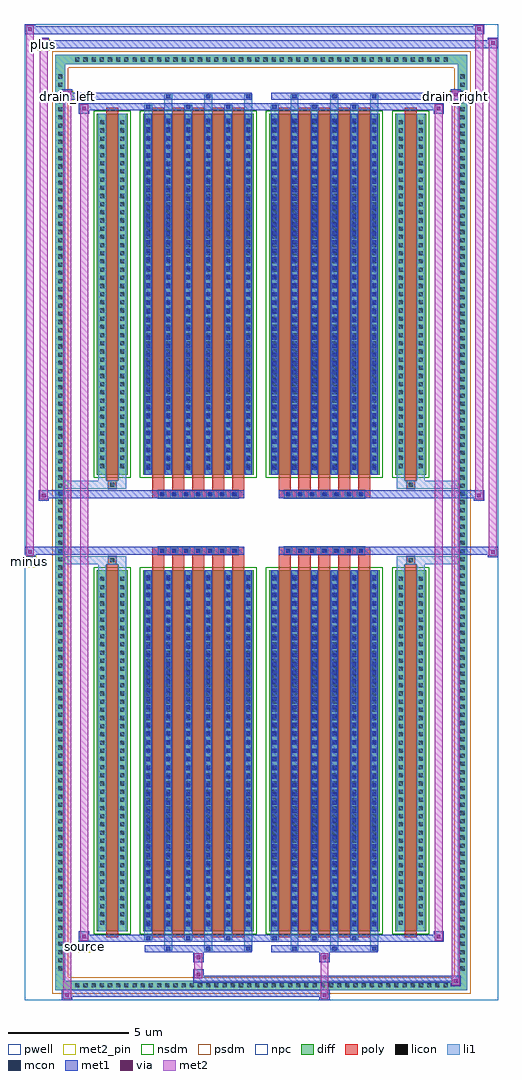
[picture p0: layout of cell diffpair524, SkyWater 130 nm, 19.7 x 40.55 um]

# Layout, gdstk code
import gdstk
lib = gdstk.Library(unit=1e-6, precision=5e-09)
def R(c, l, rs):  # rectangles x0, y0, x1, y1
    for r in rs: c.add(gdstk.rectangle(r[:2], r[2:], *l))
def A(c, l, x, y, w, h, nx, ny, dx, dy):  # array of equal rectangles
    R(c, l, [(x+i*dx, y+j*dy, x+i*dx+w, y+j*dy+h) for i in range(nx) for j in range(ny)])
def P(c, l, *ps):  # polygons
    for p in ps: c.add(gdstk.Polygon(p, *l))
pwell = (64, 44)
diff = (65, 20)
poly = (66, 20)
licon = (66, 44)
li1 = (67, 20)
mcon = (67, 44)
met1 = (68, 20)
via = (68, 44)
met2_pin = (69, 16)
met2 = (69, 20)
nsdm = (93, 44)
psdm = (94, 20)
npc = (95, 20)

diffpair524 = lib.new_cell('diffpair524')
R(diffpair524, pwell, [(-9.83,-19.84,9.83,20.71), (-7.15,-18.03,-0.01,-0.805), (0.01,-18.03,7.15,-0.805), (-7.15,0.805,-0.01,18.03), (0.01,0.805,7.15,18.03)])
A(diffpair524, diff, -7.855, -19.44, 0.41, 0.41, 46, 2, 0.34, 38.47)
A(diffpair524, diff, -8.56, -18.735, 0.41, 0.41, 1, 110, 0, 0.34)
A(diffpair524, diff, 8.15, -18.735, 0.41, 0.41, 1, 110, 0, 0.34)
R(diffpair524, diff, [(-7.855,-19.44,7.855,-19.03), (-8.56,-18.735,-8.15,18.735), (8.15,-18.735,8.56,18.735), (-6.84,-16.985,-5.56,-1.985), (-4.92,-16.985,-0.32,-1.985), (0.32,-16.985,4.92,-1.985), (5.56,-16.985,6.84,-1.985), (-6.84,1.985,-5.56,16.985), (-4.92,1.985,-0.32,16.985), (0.32,1.985,4.92,16.985), (5.56,1.985,6.84,16.985), (-7.855,19.03,7.855,19.44)])
P(diffpair524, diff, [(8.56,19.44),(-8.56,19.44),(-8.56,-19.03),(-8.15,-19.03),(-8.15,19.03),(8.15,19.03),(8.15,-19.03),(-8.15,-19.03),(-8.56,-19.03),(-8.56,-19.44),(8.56,-19.44)])
A(diffpair524, poly, -4.53, -17.235, 0.5, 15.5, 5, 2, 0.83, 18.97)
A(diffpair524, poly, 0.71, -17.235, 0.5, 15.5, 5, 2, 0.83, 18.97)
A(diffpair524, poly, -4.53, -1.735, 0.5, 0.4, 5, 2, 0.83, 3.07)
A(diffpair524, poly, 0.71, -1.735, 0.5, 0.4, 5, 2, 0.83, 3.07)
A(diffpair524, poly, -4.285, -1.335, 0.33, 0.33, 7, 2, 0.5, 2.34)
A(diffpair524, poly, 0.955, -1.335, 0.33, 0.33, 7, 2, 0.5, 2.34)
R(diffpair524, poly, [(-6.45,-17.235,-5.95,-1.735), (5.95,-17.235,6.45,-1.735), (-6.365,-1.735,-6.035,-1.405), (-6.365,-1.735,-6.035,-1.405), (6.035,-1.735,6.365,-1.405), (6.035,-1.735,6.365,-1.405), (-4.53,-1.335,-0.71,-1.005), (0.71,-1.335,4.53,-1.005), (-4.53,1.005,-0.71,1.335), (0.71,1.005,4.53,1.335), (-6.365,1.405,-6.035,1.735), (-6.365,1.405,-6.035,1.735), (6.035,1.405,6.365,1.735), (6.035,1.405,6.365,1.735), (-6.45,1.735,-5.95,17.235), (5.95,1.735,6.45,17.235)])
A(diffpair524, licon, -7.735, -19.32, 0.17, 0.17, 46, 2, 0.34, 38.47)
A(diffpair524, licon, -8.44, -18.615, 0.17, 0.17, 1, 110, 0, 0.34)
A(diffpair524, licon, 8.27, -18.615, 0.17, 0.17, 1, 110, 0, 0.34)
A(diffpair524, licon, -6.7, -16.71, 0.17, 0.17, 1, 43, 0, 0.34)
A(diffpair524, licon, -5.87, -16.71, 0.17, 0.17, 1, 43, 0, 0.34)
A(diffpair524, licon, -4.78, -16.71, 0.17, 0.17, 6, 43, 0.83, 0.34)
A(diffpair524, licon, 0.46, -16.71, 0.17, 0.17, 6, 43, 0.83, 0.34)
A(diffpair524, licon, 5.7, -16.71, 0.17, 0.17, 1, 43, 0, 0.34)
A(diffpair524, licon, 6.53, -16.71, 0.17, 0.17, 1, 43, 0, 0.34)
A(diffpair524, licon, -4.205, -1.255, 0.17, 0.17, 7, 2, 0.5, 2.34)
A(diffpair524, licon, 1.035, -1.255, 0.17, 0.17, 7, 2, 0.5, 2.34)
A(diffpair524, licon, -6.7, 2.26, 0.17, 0.17, 1, 43, 0, 0.34)
A(diffpair524, licon, -5.87, 2.26, 0.17, 0.17, 1, 43, 0, 0.34)
A(diffpair524, licon, -4.78, 2.26, 0.17, 0.17, 6, 43, 0.83, 0.34)
A(diffpair524, licon, 0.46, 2.26, 0.17, 0.17, 6, 43, 0.83, 0.34)
A(diffpair524, licon, 5.7, 2.26, 0.17, 0.17, 1, 43, 0, 0.34)
A(diffpair524, licon, 6.53, 2.26, 0.17, 0.17, 1, 43, 0, 0.34)
R(diffpair524, licon, [(-6.285,-1.655,-6.115,-1.485), (6.115,-1.655,6.285,-1.485), (-6.285,1.485,-6.115,1.655), (6.115,1.485,6.285,1.655)])
A(diffpair524, li1, -7.815, -19.4, 0.33, 0.33, 46, 2, 0.34, 38.47)
A(diffpair524, li1, -8.52, -18.695, 0.33, 0.33, 1, 110, 0, 0.34)
A(diffpair524, li1, 8.19, -18.695, 0.33, 0.33, 1, 110, 0, 0.34)
A(diffpair524, li1, -4.03, -17.79, 0.33, 0.805, 3, 2, 1.66, 34.775)
A(diffpair524, li1, -3.95, -17.79, 0.17, 0.17, 3, 2, 1.66, 35.41)
A(diffpair524, li1, 1.21, -17.79, 0.33, 0.805, 3, 2, 1.66, 34.775)
A(diffpair524, li1, 1.29, -17.79, 0.17, 0.17, 3, 2, 1.66, 35.41)
A(diffpair524, li1, -4.86, -17.36, 0.33, 0.375, 3, 2, 1.66, 34.345)
A(diffpair524, li1, -4.78, -17.36, 0.17, 0.17, 3, 2, 1.66, 34.55)
A(diffpair524, li1, 0.38, -17.36, 0.33, 0.375, 3, 2, 1.66, 34.345)
A(diffpair524, li1, 0.46, -17.36, 0.17, 0.17, 3, 2, 1.66, 34.55)
A(diffpair524, li1, -4.86, -16.985, 0.33, 15, 6, 2, 0.83, 18.97)
A(diffpair524, li1, 0.38, -16.985, 0.33, 15, 6, 2, 0.83, 18.97)
A(diffpair524, li1, -6.78, -16.79, 0.33, 0.33, 1, 43, 0, 0.34)
A(diffpair524, li1, -5.95, -16.79, 0.33, 0.33, 1, 43, 0, 0.34)
A(diffpair524, li1, -4.86, -16.79, 0.33, 0.33, 6, 43, 0.83, 0.34)
A(diffpair524, li1, 0.38, -16.79, 0.33, 0.33, 6, 43, 0.83, 0.34)
A(diffpair524, li1, 5.62, -16.79, 0.33, 0.33, 1, 43, 0, 0.34)
A(diffpair524, li1, 6.45, -16.79, 0.33, 0.33, 1, 43, 0, 0.34)
A(diffpair524, li1, -4.78, -16.77, 0.17, 0.17, 6, 41, 0.83, 0.36)
A(diffpair524, li1, -4.78, -16.77, 0.17, 14.57, 6, 2, 0.83, 18.97)
A(diffpair524, li1, 0.46, -16.77, 0.17, 0.17, 6, 41, 0.83, 0.36)
A(diffpair524, li1, 0.46, -16.77, 0.17, 14.57, 6, 2, 0.83, 18.97)
A(diffpair524, li1, -4.285, -1.335, 0.33, 0.33, 7, 2, 0.5, 2.34)
A(diffpair524, li1, 0.955, -1.335, 0.33, 0.33, 7, 2, 0.5, 2.34)
A(diffpair524, li1, -6.78, 2.18, 0.33, 0.33, 1, 43, 0, 0.34)
A(diffpair524, li1, -5.95, 2.18, 0.33, 0.33, 1, 43, 0, 0.34)
A(diffpair524, li1, -4.86, 2.18, 0.33, 0.33, 6, 43, 0.83, 0.34)
A(diffpair524, li1, 0.38, 2.18, 0.33, 0.33, 6, 43, 0.83, 0.34)
A(diffpair524, li1, 5.62, 2.18, 0.33, 0.33, 1, 43, 0, 0.34)
A(diffpair524, li1, 6.45, 2.18, 0.33, 0.33, 1, 43, 0, 0.34)
A(diffpair524, li1, -4.78, 2.2, 0.17, 0.17, 6, 41, 0.83, 0.36)
A(diffpair524, li1, 0.46, 2.2, 0.17, 0.17, 6, 41, 0.83, 0.36)
R(diffpair524, li1, [(-8.56,-19.44,-8.15,-19.03), (-8.56,-19.44,-8.15,-19.03), (-8.15,-19.44,8.15,-19.03), (8.15,-19.44,8.56,-19.03), (8.15,-19.44,8.56,-19.03), (-8.56,-19.03,-8.15,19.03), (8.15,-19.03,8.56,19.03), (-6.78,-16.985,-6.45,-1.985), (-5.95,-16.985,-5.62,-1.985), (5.62,-16.985,5.95,-1.985), (6.45,-16.985,6.78,-1.985), (-6.78,-1.985,-6.45,-1.405), (-5.95,-1.985,-5.62,-1.405), (5.62,-1.985,5.95,-1.405), (6.45,-1.985,6.78,-1.405), (-8.56,-1.735,-6.365,-1.405), (-6.78,-1.735,-6.365,-1.405), (-6.365,-1.735,-6.035,-1.405), (-6.035,-1.735,-5.62,-1.405), (5.62,-1.735,6.035,-1.405), (6.035,-1.735,6.365,-1.405), (6.035,-1.735,8.56,-1.405), (6.365,-1.735,6.78,-1.405), (-8.56,1.405,-6.365,1.735), (-6.78,1.405,-6.365,1.735), (-6.78,1.405,-6.45,1.985), (-6.365,1.405,-6.035,1.735), (-6.035,1.405,-5.62,1.735), (-5.95,1.405,-5.62,1.985), (5.62,1.405,6.035,1.735), (5.62,1.405,5.95,1.985), (6.035,1.405,6.365,1.735), (6.035,1.405,8.56,1.735), (6.365,1.405,6.78,1.735), (6.45,1.405,6.78,1.985), (-6.78,1.985,-6.45,16.985), (-5.95,1.985,-5.62,16.985), (5.62,1.985,5.95,16.985), (6.45,1.985,6.78,16.985), (-8.56,19.03,-8.15,19.44), (-8.56,19.03,-8.15,19.44), (-8.15,19.03,8.15,19.44), (8.15,19.03,8.56,19.44), (8.15,19.03,8.56,19.44)])
A(diffpair524, mcon, -3.95, -17.79, 0.17, 0.17, 3, 2, 1.66, 35.41)
A(diffpair524, mcon, 1.29, -17.79, 0.17, 0.17, 3, 2, 1.66, 35.41)
A(diffpair524, mcon, -4.78, -17.36, 0.17, 0.17, 3, 2, 1.66, 34.55)
A(diffpair524, mcon, 0.46, -17.36, 0.17, 0.17, 3, 2, 1.66, 34.55)
A(diffpair524, mcon, -4.78, -16.77, 0.17, 0.17, 6, 41, 0.83, 0.36)
A(diffpair524, mcon, 0.46, -16.77, 0.17, 0.17, 6, 41, 0.83, 0.36)
A(diffpair524, mcon, -4.205, -1.255, 0.17, 0.17, 7, 2, 0.5, 2.34)
A(diffpair524, mcon, 1.035, -1.255, 0.17, 0.17, 7, 2, 0.5, 2.34)
A(diffpair524, mcon, -4.78, 2.2, 0.17, 0.17, 6, 41, 0.83, 0.36)
A(diffpair524, mcon, 0.46, 2.2, 0.17, 0.17, 6, 41, 0.83, 0.36)
A(diffpair524, met1, -4.01, -17.85, 0.29, 0.29, 3, 2, 1.66, 35.41)
A(diffpair524, met1, 1.23, -17.85, 0.29, 0.29, 3, 2, 1.66, 35.41)
A(diffpair524, met1, -4.84, -17.42, 0.29, 0.29, 3, 2, 1.66, 34.55)
A(diffpair524, met1, 0.4, -17.42, 0.29, 0.29, 3, 2, 1.66, 34.55)
A(diffpair524, met1, -4.84, -16.985, 0.29, 15, 6, 2, 0.83, 18.97)
A(diffpair524, met1, 0.4, -16.985, 0.29, 15, 6, 2, 0.83, 18.97)
A(diffpair524, met1, -4.84, -16.83, 0.29, 0.29, 6, 41, 0.83, 0.36)
A(diffpair524, met1, 0.4, -16.83, 0.29, 0.29, 6, 41, 0.83, 0.36)
A(diffpair524, met1, -4.265, -1.315, 0.29, 0.29, 7, 2, 0.5, 2.34)
A(diffpair524, met1, 0.975, -1.315, 0.29, 0.29, 7, 2, 0.5, 2.34)
A(diffpair524, met1, -4.84, 2.14, 0.29, 0.29, 6, 41, 0.83, 0.36)
A(diffpair524, met1, 0.4, 2.14, 0.29, 0.29, 6, 41, 0.83, 0.36)
R(diffpair524, met1, [(-8.29,-19.84,-7.86,-19.41), (2.405,-19.84,2.835,-19.41), (-8.29,-19.7,2.835,-19.41), (7.86,-19.27,8.29,-18.84), (-2.835,-19.13,8.29,-18.84), (-2.835,-18.99,-2.405,-18.56), (-2.835,-18.28,-2.405,-17.85), (2.405,-18.28,2.835,-17.85), (-4.84,-17.85,-0.4,-17.56), (0.4,-17.85,4.84,-17.56), (-7.58,-17.42,-7.15,-16.99), (-7.58,-17.42,-4.84,-17.13), (-4.84,-17.42,-0.4,-17.13), (-0.4,-17.42,0.4,-17.13), (0.4,-17.42,4.84,-17.13), (4.84,-17.42,7.58,-17.13), (7.15,-17.42,7.58,-16.99), (-9.83,-1.435,-9.4,-1.005), (9.4,-1.435,9.83,-1.005), (-9.83,-1.335,-0.71,-1.005), (-4.53,-1.335,-0.71,-1.005), (0.71,-1.335,4.53,-1.005), (0.71,-1.335,9.83,-1.005), (-9.26,0.905,-8.83,1.335), (8.83,0.905,9.26,1.335), (-9.26,1.005,-4.53,1.335), (-4.53,1.005,-0.71,1.335), (0.71,1.005,4.53,1.335), (4.53,1.005,9.26,1.335), (-7.58,16.99,-7.15,17.42), (7.15,16.99,7.58,17.42), (-7.58,17.13,-4.84,17.42), (-4.84,17.13,-0.4,17.42), (-0.4,17.13,0.4,17.42), (0.4,17.13,4.84,17.42), (4.84,17.13,7.58,17.42), (-8.29,17.56,-7.86,17.99), (-8.29,17.56,-4.84,17.85), (-4.84,17.56,-0.4,17.85), (0.4,17.56,4.84,17.85), (4.84,17.56,8.29,17.85), (7.86,17.56,8.29,17.99), (-9.26,19.71,-8.83,20.14), (-9.26,19.71,-7.15,20.04), (-7.15,19.71,7.15,20.04), (7.15,19.71,9.83,20.04), (9.4,19.71,9.83,20.14), (-9.83,20.28,-9.4,20.71), (-9.83,20.28,-7.15,20.61), (-7.15,20.28,7.15,20.61), (7.15,20.28,9.26,20.61), (8.83,20.28,9.26,20.71)])
R(diffpair524, via, [(-8.15,-19.7,-8,-19.55), (2.545,-19.7,2.695,-19.55), (8,-19.13,8.15,-18.98), (-2.695,-18.85,-2.545,-18.7), (-2.695,-18.14,-2.545,-17.99), (2.545,-18.14,2.695,-17.99), (-7.44,-17.28,-7.29,-17.13), (7.29,-17.28,7.44,-17.13), (-9.69,-1.295,-9.54,-1.145), (9.54,-1.295,9.69,-1.145), (-9.12,1.045,-8.97,1.195), (8.97,1.045,9.12,1.195), (-7.44,17.13,-7.29,17.28), (7.29,17.13,7.44,17.28), (-8.15,17.7,-8,17.85), (8,17.7,8.15,17.85), (-9.12,19.85,-8.97,20), (9.54,19.85,9.69,20), (-9.69,20.42,-9.54,20.57), (8.97,20.42,9.12,20.57)])
R(diffpair524, met2_pin, [(-7.615,-17.87,-7.115,-17.37), (-9.865,-1.885,-9.365,-1.385), (-8.325,17.44,-7.825,17.94), (7.825,17.44,8.325,17.94), (-9.295,19.59,-8.795,20.09)])
R(diffpair524, met2, [(-8.24,-19.79,-7.91,-19.46), (-8.24,-19.79,-7.91,17.94), (2.455,-19.79,2.785,-19.46), (2.455,-19.46,2.785,-18.23), (7.91,-19.22,8.24,-18.89), (7.91,-19.22,8.24,17.94), (-2.785,-18.94,-2.455,-18.61), (-2.785,-18.61,-2.455,-18.23), (-2.785,-18.23,-2.455,-17.9), (2.455,-18.23,2.785,-17.9), (-7.53,-17.37,-7.2,-17.04), (-7.53,-17.37,-7.2,17.37), (7.2,-17.37,7.53,-17.04), (7.2,-17.37,7.53,17.37), (-9.78,-1.385,-9.45,-1.055), (-9.78,-1.385,-9.45,20.66), (9.45,-1.385,9.78,-1.055), (9.45,-1.385,9.78,20.09), (-9.21,0.955,-8.88,1.285), (-9.21,0.955,-8.88,20.09), (8.88,0.955,9.21,1.285), (8.88,0.955,9.21,20.66), (-7.53,17.04,-7.2,17.37), (7.2,17.04,7.53,17.37), (-8.24,17.61,-7.91,17.94), (7.91,17.61,8.24,17.94), (-9.21,19.76,-8.88,20.09), (9.45,19.76,9.78,20.09), (-9.78,20.33,-9.45,20.66), (8.88,20.33,9.21,20.66)])
P(diffpair524, met2, [(9.78,-1.385),(9.78,-1.385),(9.78,-1.055),(9.78,-1.055)],
  [(9.78,19.76),(9.78,19.76),(9.78,20.09),(9.78,20.09)],
  [(-9.45,-1.385),(-9.45,-1.385),(-9.45,-1.055),(-9.45,-1.055)],
  [(-9.45,20.33),(-9.45,20.33),(-9.45,20.66),(-9.45,20.66)],
  [(9.21,0.955),(9.21,0.955),(9.21,1.285),(9.21,1.285)],
  [(9.21,20.33),(9.21,20.33),(9.21,20.66),(9.21,20.66)],
  [(-8.88,0.955),(-8.88,0.955),(-8.88,1.285),(-8.88,1.285)],
  [(-8.88,19.76),(-8.88,19.76),(-8.88,20.09),(-8.88,20.09)],
  [(-7.91,-19.79),(-7.91,-19.79),(-7.91,-19.46),(-7.91,-19.46)],
  [(-7.91,17.61),(-7.91,17.61),(-7.91,17.94),(-7.91,17.94)],
  [(8.24,-19.22),(8.24,-19.22),(8.24,-18.89),(8.24,-18.89)],
  [(8.24,17.61),(8.24,17.61),(8.24,17.94),(8.24,17.94)],
  [(-7.2,-17.37),(-7.2,-17.37),(-7.2,-17.04),(-7.2,-17.04)],
  [(-7.2,17.04),(-7.2,17.04),(-7.2,17.37),(-7.2,17.37)],
  [(7.53,-17.37),(7.53,-17.37),(7.53,-17.04),(7.53,-17.04)],
  [(7.53,17.04),(7.53,17.04),(7.53,17.37),(7.53,17.37)])
R(diffpair524, nsdm, [(-6.97,-17.115,-5.43,-1.855), (-5.05,-17.115,-0.19,-1.855), (0.19,-17.115,5.05,-1.855), (5.43,-17.115,6.97,-1.855), (-6.97,1.855,-5.43,17.115), (-5.05,1.855,-0.19,17.115), (0.19,1.855,5.05,17.115), (5.43,1.855,6.97,17.115)])
P(diffpair524, psdm, [(8.69,19.57),(-8.69,19.57),(-8.69,-18.9),(-8.02,-18.9),(-8.02,18.9),(8.02,18.9),(8.02,-18.9),(-8.02,-18.9),(-8.69,-18.9),(-8.69,-19.57),(8.69,-19.57)])
A(diffpair524, npc, -4.305, -1.355, 0.37, 0.37, 7, 2, 0.5, 2.34)
A(diffpair524, npc, 0.935, -1.355, 0.37, 0.37, 7, 2, 0.5, 2.34)
R(diffpair524, npc, [(-6.385,-1.755,-6.015,-1.385), (6.015,-1.755,6.385,-1.385), (-4.305,-1.355,-3.435,-0.985), (-4.305,-1.355,-3.435,-0.985), (-3.805,-1.355,-2.935,-0.985), (-3.805,-1.355,-2.935,-0.985), (-3.305,-1.355,-2.435,-0.985), (-3.305,-1.355,-2.435,-0.985), (-2.805,-1.355,-1.935,-0.985), (-2.805,-1.355,-1.935,-0.985), (-2.305,-1.355,-1.435,-0.985), (-2.305,-1.355,-1.435,-0.985), (-1.805,-1.355,-0.935,-0.985), (-1.805,-1.355,-0.935,-0.985), (0.935,-1.355,1.805,-0.985), (0.935,-1.355,1.805,-0.985), (1.435,-1.355,2.305,-0.985), (1.435,-1.355,2.305,-0.985), (1.935,-1.355,2.805,-0.985), (1.935,-1.355,2.805,-0.985), (2.435,-1.355,3.305,-0.985), (2.435,-1.355,3.305,-0.985), (2.935,-1.355,3.805,-0.985), (2.935,-1.355,3.805,-0.985), (3.435,-1.355,4.305,-0.985), (3.435,-1.355,4.305,-0.985), (-4.305,0.985,-3.435,1.355), (-4.305,0.985,-3.435,1.355), (-3.805,0.985,-2.935,1.355), (-3.805,0.985,-2.935,1.355), (-3.305,0.985,-2.435,1.355), (-3.305,0.985,-2.435,1.355), (-2.805,0.985,-1.935,1.355), (-2.805,0.985,-1.935,1.355), (-2.305,0.985,-1.435,1.355), (-2.305,0.985,-1.435,1.355), (-1.805,0.985,-0.935,1.355), (-1.805,0.985,-0.935,1.355), (0.935,0.985,1.805,1.355), (0.935,0.985,1.805,1.355), (1.435,0.985,2.305,1.355), (1.435,0.985,2.305,1.355), (1.935,0.985,2.805,1.355), (1.935,0.985,2.805,1.355), (2.435,0.985,3.305,1.355), (2.435,0.985,3.305,1.355), (2.935,0.985,3.805,1.355), (2.935,0.985,3.805,1.355), (3.435,0.985,4.305,1.355), (3.435,0.985,4.305,1.355), (-6.385,1.385,-6.015,1.755), (6.015,1.385,6.385,1.755)])
diffpair524.add(gdstk.Label('minus', (-9.615,-1.635), layer=69, texttype=5))
diffpair524.add(gdstk.Label('drain_right', (8.075,17.69), layer=69, texttype=5))
diffpair524.add(gdstk.Label('drain_left', (-8.075,17.69), layer=69, texttype=5))
diffpair524.add(gdstk.Label('source', (-7.365,-17.62), layer=69, texttype=5))
diffpair524.add(gdstk.Label('plus', (-9.045,19.84), layer=69, texttype=5))

lib.write_gds('diffpair524.gds')
